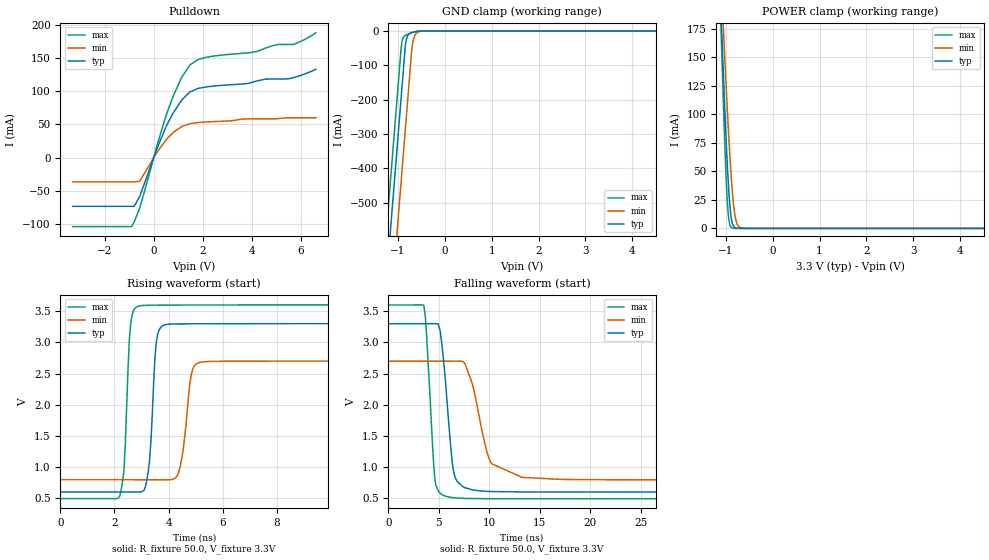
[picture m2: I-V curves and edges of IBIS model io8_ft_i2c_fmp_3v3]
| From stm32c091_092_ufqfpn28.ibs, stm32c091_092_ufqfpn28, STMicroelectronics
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[Model]   io8_ft_i2c_fmp_3v3
Model_type I/O_open_drain
Polarity   Non-Inverting
Enable   Active-Low
| CAP_THRESHOLD on pad IOFT is "UDTCAPC" :
| Rising=30.0% of vddiom   Falling=70.0% of vddiom
| C_comp min and max val. don't necessarily correlate with the min and max pvt
| but are the smallest and greatest pad capacitance found.
| var   typ   min   max
C_comp   2.41448pF  2.37181pF  2.45568pF
|C_comp_pulldown   2.41448pF  2.37181pF  2.45568pF
Vinl = 1.35V
Vinh = 1.8V
Vmeas = 1.65V   | Reference voltage for timing measurements
Cref  = 50.0pF   | Timing specification test load capacitance value
Rref  = 1.0MOhm   | Timing specification test load resistance value
Vref  = 1.815V   | Timing specification test load voltage
[Model Spec]
| TIME_THRESHOLD on pin ZII2CV12 is "CMOS" :
| Rising=50.0% of vdd   Falling=50.0% of vdd
Vinl 1.34770V 1.11370V 1.44970V
Vinh 1.77530V 1.49530V 1.90330V
| variable   typ   min   max
[Temperature Range] 25.0 125.0 -40.0
| variable   typ   min   max
[Voltage Range] 3.3V 2.7V 3.6V
| variable   typ   min   max
[POWER Clamp Reference] 3.3V 2.7V 3.6V
| variable   typ   min   max
[GND Clamp Reference] 0V 0V 0V
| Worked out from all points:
|   slope of the pulldown table from 0 to 0.495 V, typ, clamps not added: 10.9 ohm
|   GND clamp passes 1 mA (typ) near -0.58 V on its own axis
|   POWER clamp passes 1 mA (typ) near -0.81 V on its own axis
|   rising waveform, R_fixture 50.0, V_fixture 3.3V: 20-80 % time 194ps typ, 281ps min, 173ps max; typ from 0.603 V to 3.3 V
|   falling waveform, R_fixture 50.0, V_fixture 3.3V: 20-80 % time 856ps typ, 1.56ns min, 630ps max; typ from 3.3 V to 0.603 V
[POWER Clamp]
-3.3V     2.991A     2.543A     3.694A
-1.1V     191.1mA    222.7mA    177.1mA
-1.08V    169mA      204.2mA    149.9mA
-1.05V    136.9mA    176.9mA    110.9mA
-1.01V    96.55mA    141.6mA    64.02mA
-970mV    60.39mA    108.2mA    27.41mA
-930mV    31.08mA    77.43mA    7.282mA
-900mV    15.67mA    56.69mA    2.025mA
-860mV    4.779mA    33.42mA    315.2uA
-780mV    272.1uA    6.953mA    6.98uA
-670mV    4.467uA    374.2uA    36.58nA
6.6V      0A         0A         0A
[GND Clamp]
-3.3V     -4.227A    -4.472A    -4.082A
-1.25V    -742.2mA   -986.7mA   -597.4mA
-930mV    -198.2mA   -442.7mA   -53.39mA
-920mV    -181.2mA   -425.7mA   -39.67mA
-890mV    -130.2mA   -374.7mA   -20.93mA
-830mV    -35.33mA   -272.7mA   -12.06mA
-790mV    -14.13mA   -204.7mA   -9.442mA
-720mV    -5.312mA   -85.66mA   -5.702mA
-690mV    -3.888mA   -42.66mA   -4.338mA
-650mV    -2.529mA   -17.47mA   -2.784mA
-480mV    -113.2uA   -479.8uA   -69.15uA
6.6V      942.9pA    93.37nA    678.9pA
| variable   typ   min   max
[Pullup Reference] 3.3V 2.7V 3.6V
| variable   typ   min   max
[Pulldown Reference] 0V 0V 0V
[Pulldown]
-3.3V     -73.23mA   -36.43mA   -103.7mA
-890mV    -73.23mA   -36.43mA   -103.1mA
-790mV    -73.08mA   -36.43mA   -96.56mA
-570mV    -58.43mA   -35.54mA   -76.22mA
120mV     12.17mA    7.266mA    16.35mA
600mV     53.75mA    30.83mA    73.34mA
1.14V     86.74mA    46.88mA    120.9mA
1.48V     99.14mA    51.31mA    139.9mA
2.17V     106.7mA    53.87mA    151.5mA
5.07V     118.6mA    58.8mA     170.5mA
5.69V     120.5mA    60.1mA     170.5mA
6.6V      133.1mA    60.1mA     188mA
[Ramp]
dV/dt_r 1.61844V/191.36855ps 1.14071V/279.09522ps 1.8627V/167.69595ps
dV/dt_f 1.61846V/856.4693ps 1.14076V/1.55882ns 1.86272V/629.71919ps
R_load = 50.0
| Removed startup time: 0s 0s 0s  .
| Removed end time: 19.7ns.
[Rising Waveform]
R_fixture   = 50.0
V_fixture   = 3.3V
V_fixture_min = 2.7V
V_fixture_max = 3.6V
0s        602.6mV    798.7mV    495.5mV
2.2ns     602.4mV    798.7mV    539.8mV
2.6ns     602.3mV    798.5mV    3.3V
2.85ns    601.7mV    798.5mV    3.575V
3.25ns    933.5mV    798.4mV    3.594V
3.55ns    3.008V     798.3mV    3.596V
3.8ns     3.272V     797.6mV    3.597V
4.35ns    3.295V     884.9mV    3.598V
5.15ns    3.298V     2.677V     3.599V
19.7ns    3.3V       2.7V       3.6V
| Removed startup time: 0s 0s 0s  .
| Removed end time: 39.77ns.
[Falling Waveform]
R_fixture   = 50.0
V_fixture   = 3.3V
V_fixture_min = 2.7V
V_fixture_max = 3.6V
0s        3.3V       2.7V       3.6V
3.51ns    3.3V       2.7V       3.597V
3.795ns   3.3V       2.7V       3.1V
4.575ns   3.301V     2.7V       876mV
5.415ns   2.802V     2.7V       551.9mV
6.435ns   965.8mV    2.7V       511.6mV
7.585ns   672mV      2.664V     500.2mV
10.07ns   611.1mV    1.108V     495.9mV
13.26ns   603.3mV    837.2mV    495.5mV
39.77ns   602.6mV    798.7mV    495.5mV
